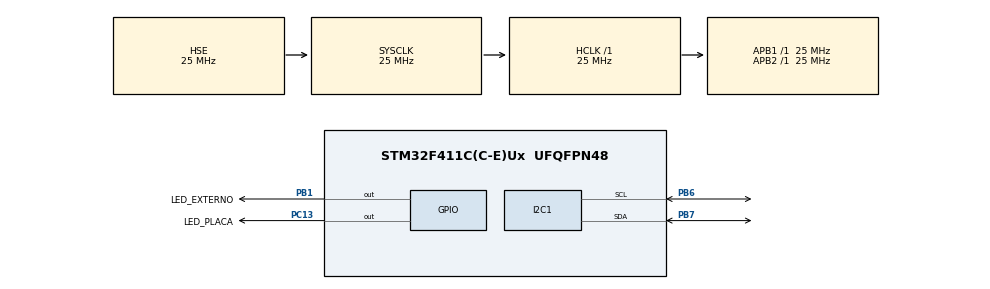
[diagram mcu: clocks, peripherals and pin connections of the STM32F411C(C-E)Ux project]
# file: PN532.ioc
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I2C1.I2C_Mode=I2C_Standard
Mcu.Family=STM32F4
Mcu.Name=STM32F411C(C-E)Ux
Mcu.Package=UFQFPN48
NVIC.PriorityGroup=NVIC_PRIORITYGROUP_4
PA13.Mode=JTAG_4_pins
PA13.Signal=SYS_JTMS-SWDIO
PA14.Mode=JTAG_4_pins
PA14.Signal=SYS_JTCK-SWCLK
PA15.Mode=JTAG_4_pins
PA15.Signal=SYS_JTDI
PB1.GPIO_Label=LED_EXTERNO
PB1.GPIO_PuPd=GPIO_PULLDOWN
PB1.Signal=GPIO_Output
PB3.Mode=JTAG_4_pins
PB3.Signal=SYS_JTDO-SWO
PB6.GPIO_Pu=GPIO_NOPULL
PB6.Mode=I2C
PB6.Signal=I2C1_SCL
PB7.GPIO_Pu=GPIO_NOPULL
PB7.Mode=I2C
PB7.Signal=I2C1_SDA
PC13-ANTI_TAMP.GPIO_Label=LED_PLACA
PC13-ANTI_TAMP.GPIO_PuPd=GPIO_NOPULL
PC13-ANTI_TAMP.Signal=GPIO_Output
PH0\ -\ OSC_IN.Mode=HSE-External-Oscillator
PH0\ -\ OSC_IN.Signal=RCC_OSC_IN
PH1\ -\ OSC_OUT.Mode=HSE-External-Oscillator
PH1\ -\ OSC_OUT.Signal=RCC_OSC_OUT
ProjectManager.HeapSize=0x200
ProjectManager.StackSize=0x400
ProjectManager.TargetToolchain=STM32CubeIDE
RCC.48MHZClocksFreq_Value=75000000
RCC.AHBFreq_Value=25000000
RCC.APB1Freq_Value=25000000
RCC.APB1TimFreq_Value=25000000
RCC.APB2Freq_Value=25000000
RCC.APB2TimFreq_Value=25000000
RCC.CortexFreq_Value=25000000
RCC.HCLKFreq_Value=25000000
RCC.HSE_VALUE=25000000
RCC.HSI_VALUE=16000000
RCC.LSE_VALUE=32768
RCC.PLLSourceVirtual=RCC_PLLSOURCE_HSE
RCC.SYSCLKFreq_VALUE=25000000
RCC.SYSCLKSource=RCC_SYSCLKSOURCE_HSE
RCC.VCOOutputFreq_Value=300000000
board=custom

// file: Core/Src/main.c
/* USER CODE BEGIN Header */
/**
  ******************************************************************************
  * @file           : main.c
  * @brief          : Main program body
  ******************************************************************************
  * @attention
  *
  * Copyright (c) 2024 STMicroelectronics.
  * All rights reserved.
  *
  * This software is licensed under terms that can be found in the LICENSE file
  * in the root directory of this software component.
  * If no LICENSE file comes with this software, it is provided AS-IS.
  *
  ******************************************************************************
  */
/* USER CODE END Header */
#include "main.h"
#include "i2c.h"
#include "gpio.h"

/* USER CODE BEGIN Includes */
#include "usr/main_PN532.h"
/* USER CODE END Includes */

void SystemClock_Config(void);

int main(void)
{

  /* MCU Configuration--------------------------------------------------------*/

  /* Reset of all peripherals, Initializes the Flash interface and the Systick. */
  HAL_Init();

  /* Configure the system clock */
  SystemClock_Config();

  /* Initialize all configured peripherals */
  MX_GPIO_Init();
  MX_I2C1_Init();

  /* Infinite loop */
  /* USER CODE BEGIN WHILE */
  main_PN532();
  while (1)
  {
    /* USER CODE END WHILE */

  }
}

void SystemClock_Config(void)
{
  RCC_OscInitTypeDef RCC_OscInitStruct = {0};
  RCC_ClkInitTypeDef RCC_ClkInitStruct = {0};

  /** Configure the main internal regulator output voltage
  */
  __HAL_RCC_PWR_CLK_ENABLE();
  __HAL_PWR_VOLTAGESCALING_CONFIG(PWR_REGULATOR_VOLTAGE_SCALE1);

  /** Initializes the RCC Oscillators according to the specified parameters
  * in the RCC_OscInitTypeDef structure.
  */
  RCC_OscInitStruct.OscillatorType = RCC_OSCILLATORTYPE_HSE;
  RCC_OscInitStruct.HSEState = RCC_HSE_ON;
  RCC_OscInitStruct.PLL.PLLState = RCC_PLL_NONE;
  if (HAL_RCC_OscConfig(&RCC_OscInitStruct) != HAL_OK)
  {
    Error_Handler();
  }

  /** Initializes the CPU, AHB and APB buses clocks
  */
  RCC_ClkInitStruct.ClockType = RCC_CLOCKTYPE_HCLK|RCC_CLOCKTYPE_SYSCLK
                              |RCC_CLOCKTYPE_PCLK1|RCC_CLOCKTYPE_PCLK2;
  RCC_ClkInitStruct.SYSCLKSource = RCC_SYSCLKSOURCE_HSE;
  RCC_ClkInitStruct.AHBCLKDivider = RCC_SYSCLK_DIV1;
  RCC_ClkInitStruct.APB1CLKDivider = RCC_HCLK_DIV1;
  RCC_ClkInitStruct.APB2CLKDivider = RCC_HCLK_DIV1;

  if (HAL_RCC_ClockConfig(&RCC_ClkInitStruct, FLASH_LATENCY_0) != HAL_OK)
  {
    Error_Handler();
  }
}

/* USER CODE BEGIN 4 */

void HAL_I2C_MasterTxCpltCallback (I2C_HandleTypeDef * hi2c)
{
  // TX Done .. Do Something!

  HAL_GPIO_TogglePin(LED_EXTERNO_GPIO_Port, LED_EXTERNO_Pin);
  HAL_Delay(200);
  HAL_GPIO_TogglePin(LED_EXTERNO_GPIO_Port, LED_EXTERNO_Pin);
  HAL_Delay(200);
  HAL_GPIO_TogglePin(LED_EXTERNO_GPIO_Port, LED_EXTERNO_Pin);
  HAL_Delay(200);
  HAL_GPIO_TogglePin(LED_EXTERNO_GPIO_Port, LED_EXTERNO_Pin);
  HAL_Delay(200);
  HAL_GPIO_TogglePin(LED_EXTERNO_GPIO_Port, LED_EXTERNO_Pin);
  HAL_Delay(200);
  HAL_GPIO_TogglePin(LED_EXTERNO_GPIO_Port, LED_EXTERNO_Pin);
  HAL_Delay(200);
  HAL_GPIO_TogglePin(LED_EXTERNO_GPIO_Port, LED_EXTERNO_Pin);
  HAL_Delay(200);
  HAL_GPIO_TogglePin(LED_EXTERNO_GPIO_Port, LED_EXTERNO_Pin);
  HAL_Delay(200);
  HAL_GPIO_TogglePin(LED_EXTERNO_GPIO_Port, LED_EXTERNO_Pin);

}

/* USER CODE END 4 */

void Error_Handler(void)
{
  __disable_irq();
  while (1)
  {
  }
}
